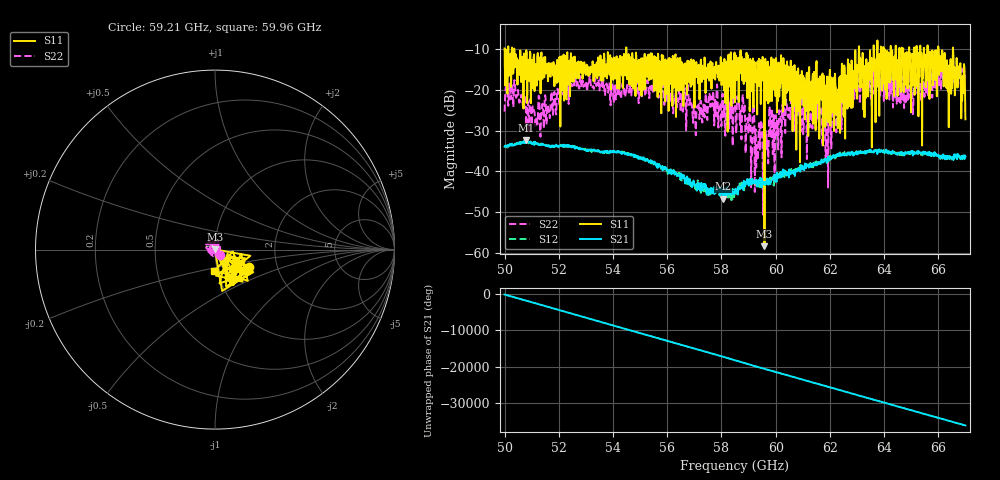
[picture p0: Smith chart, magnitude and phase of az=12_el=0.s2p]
!Created with skrf (http://scikit-rf.org).
# GHz S RI R 50.0
!freq ReS11 ImS11 ReS21 ImS21 ReS12 ImS12 ReS22 ImS22
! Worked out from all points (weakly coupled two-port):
!   1001 points, 50 GHz to 67 GHz, reference 50 ohm
!   highest |S21| = -32.36 dB at 50.8 GHz (marker M1); lowest = -46.7 dB at 58.06 GHz (marker M2)
!   lowest |S11| = -58.3 dB at 59.59 GHz (marker M3), VSWR 1.00, Z = 49.9 + j0.0818 ohm
!   |S11| at or under -10 dB: 50.36 GHz to 54.49 GHz (4.13 GHz wide, 7.88 % of centre); 54.49 GHz to 63.07 GHz (8.582 GHz wide, 14.6 % of centre); 63.08 GHz to 63.61 GHz (537.7 MHz wide, 0.849 % of centre) (the widest 3 of 23)
!   |S22| runs from -50.5 to -14.0 dB; largest |S21 - S12| = 0.0025
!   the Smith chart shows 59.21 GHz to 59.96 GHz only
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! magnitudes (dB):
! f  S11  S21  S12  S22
! 50 GHz  -9.9  -33.9  -34.0  -25.4
! 50.42 GHz  -13.9  -33.3  -33.3  -22.0
! 50.8 GHz  -10.3  -32.4  -32.8  -28.8
! 51.38 GHz  -16.7  -33.5  -33.3  -24.3
! 52.84 GHz  -14.1  -34.5  -34.4  -19.4
! 55.68 GHz  -13.3  -38.4  -38.3  -22.0
! 58.06 GHz  -15.6  -46.7  -46.1  -22.9
! 58.5 GHz  -23.0  -45.4  -45.0  -24.5
! 59.3 GHz  -15.2  -43.7  -42.5  -36.4
! 59.44 GHz  -12.8  -41.5  -42.4  -30.4
! 59.59 GHz  -58.3  -42.6  -42.5  -29.5
! 60.64 GHz  -14.4  -39.9  -40.3  -22.4
! 61.34 GHz  -25.2  -38.6  -38.9  -26.2
! 62 GHz  -15.1  -36.6  -36.8  -25.9
! 62.55 GHz  -14.8  -36.1  -35.2  -19.8
! 63.01 GHz  -22.2  -35.8  -35.1  -19.8
! 63.33 GHz  -22.0  -35.0  -35.0  -19.2
! 64.18 GHz  -18.1  -35.1  -35.4  -18.8
! 66.08 GHz  -15.3  -36.5  -36.4  -15.5
! 66.42 GHz  -15.7  -36.3  -36.3  -16.4
! 66.75 GHz  -17.2  -36.1  -36.1  -18.3
! 67 GHz  -27.2  -36.3  -36.3  -15.6
